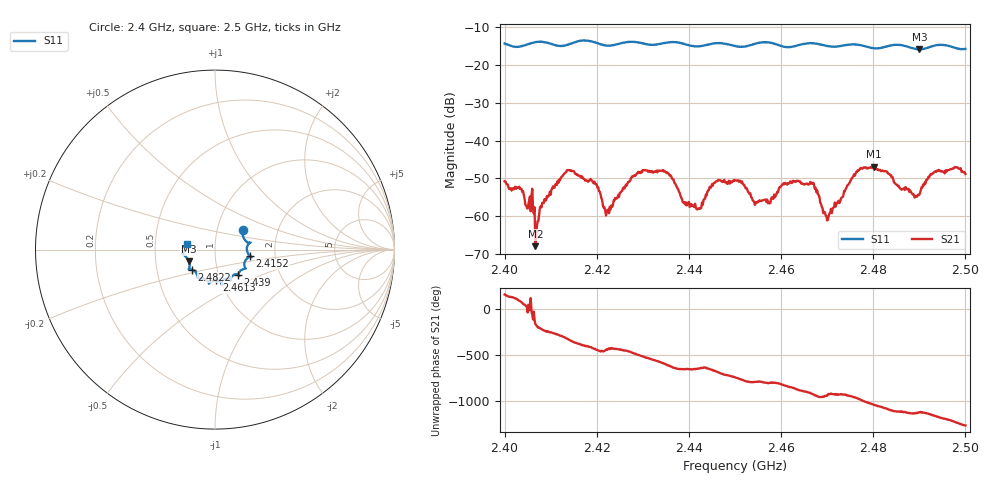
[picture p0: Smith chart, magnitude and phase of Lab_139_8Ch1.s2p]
# Hz S RI R 50
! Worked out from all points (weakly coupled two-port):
!   601 points, 2.4 GHz to 2.5 GHz, reference 50 ohm
!   highest |S21| = -46.86 dB at 2.4802 GHz (marker M1); lowest = -67.9 dB at 2.4067 GHz (marker M2)
!   lowest |S11| = -15.9 dB at 2.49 GHz (marker M3), VSWR 1.38, Z = 37 - j4.86 ohm
!   |S11| at or under -10 dB: start of sweep to end of sweep
!   S12 and S22 are empty: the file has one direction only
!   S11 on the Smith chart (normalised r, x): 2.4 GHz: 1.33, +0.31; 2.4152 GHz: 1.48, -0.11; 2.439 GHz: 1.24, -0.36; 2.4613 GHz: 0.96, -0.34; 2.4822 GHz: 0.76, -0.17; 2.5 GHz: 0.72, +0.05
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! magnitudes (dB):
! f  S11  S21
! 2.4 GHz  -14.4  -50.7
! 2.4057 GHz  -14.3  -58.7
! 2.4067 GHz  -14.0  -67.9
! 2.4152 GHz  -14.1  -48.4
! 2.4167 GHz  -13.6  -49.9
! 2.4222 GHz  -14.9  -58.9
! 2.428 GHz  -13.9  -49.3
! 2.4333 GHz  -14.6  -47.9
! 2.439 GHz  -14.5  -56.3
! 2.4422 GHz  -15.1  -57.8
! 2.45 GHz  -15.0  -50.5
! 2.4547 GHz  -14.3  -56.2
! 2.4613 GHz  -15.3  -51.6
! 2.4667 GHz  -14.3  -51.1
! 2.4702 GHz  -15.1  -60.9
! 2.4768 GHz  -14.7  -47.9
! 2.4802 GHz  -15.6  -46.9
! 2.4822 GHz  -15.4  -48.0
! 2.4833 GHz  -15.0  -48.7
! 2.49 GHz  -15.9  -54.3
! 2.4937 GHz  -14.8  -48.3
! 2.5 GHz  -15.8  -48.8
